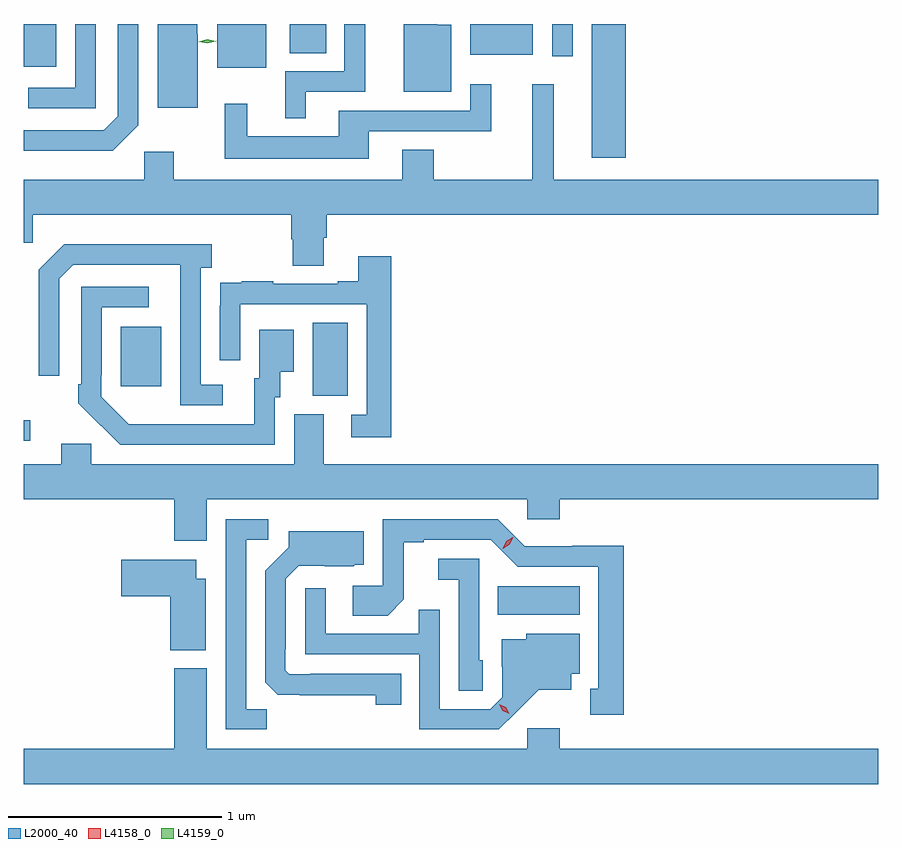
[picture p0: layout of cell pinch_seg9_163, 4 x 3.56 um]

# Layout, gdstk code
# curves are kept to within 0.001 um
import gdstk
lib = gdstk.Library(unit=1e-6, precision=1e-09)
def R(c, l, rs):  # rectangles x0, y0, x1, y1
    for r in rs: c.add(gdstk.rectangle(r[:2], r[2:], *l))
def P(c, l, *ps):  # polygons
    for p in ps: c.add(gdstk.Polygon(p, *l))
L2000_40 = (2000, 40)
L4158_0 = (4158, 0)
L4159_0 = (4159, 0)

pinch_seg9_163 = lib.new_cell('pinch_seg9_163')
R(pinch_seg9_163, L2000_40, [(648.19,1175.9,648.574,1176.034), (645.972,1176.714,646.003,1176.811), (647.324,1176.925,647.488,1177.268), (646.427,1176.969,646.615,1177.249), (648.632,1178.04,648.791,1178.666), (646.877,1178.462,647.107,1178.666), (645.972,1178.465,646.123,1178.666), (648.447,1178.514,648.543,1178.666), (648.062,1178.522,648.355,1178.666), (647.217,1178.53,647.387,1178.666)])
P(pinch_seg9_163, L2000_40, [(646.786,1178.618),(646.785,1178.618),(646.785,1178.666),(646.598,1178.666),(646.598,1178.273),(646.786,1178.273)],
  [(647.293,1178.349),(647.57,1178.349),(647.57,1178.666),(647.472,1178.666),(647.472,1178.445),(647.195,1178.445),(647.195,1178.225),(647.293,1178.225)],
  [(646.308,1178.666),(646.212,1178.666),(646.212,1178.367),(645.993,1178.367),(645.993,1178.271),(646.308,1178.271)],
  [(646.509,1178.193),(646.509,1178.666),(646.413,1178.666),(646.413,1178.235),(646.347,1178.169),(645.972,1178.169),(645.972,1178.072),(646.388,1178.072)],
  [(647.974,1178.662),(647.908,1178.662),(647.908,1178.666),(647.75,1178.666),(647.75,1178.348),(647.974,1178.348)],
  [(647.377,1177.666),(647.39,1177.666),(647.39,1177.772),(649.972,1177.772),(649.972,1177.936),(648.452,1177.936),(648.452,1178.383),(648.353,1178.383),(648.353,1177.936),(647.892,1177.936),(647.892,1178.078),(647.744,1178.078),(647.744,1177.936),(646.675,1177.936),(646.675,1178.068),(646.536,1178.068),(646.536,1177.936),(645.972,1177.936),(645.972,1177.641),(646.014,1177.641),(646.014,1177.772),(647.225,1177.772),(647.225,1177.659),(647.23,1177.659),(647.23,1177.534),(647.377,1177.534)],
  [(647.587,1178.163),(648.161,1178.163),(648.161,1178.383),(648.063,1178.383),(648.063,1178.259),(647.447,1178.259),(647.447,1178.14),(647.017,1178.14),(647.017,1178.293),(646.913,1178.293),(646.913,1178.036),(647.587,1178.036)],
  [(646.903,1176.978),(646.8,1176.978),(646.8,1177.526),(646.852,1177.526),(646.852,1177.636),(646.162,1177.636),(646.041,1177.515),(646.041,1177.02),(646.137,1177.02),(646.137,1177.473),(646.203,1177.539),(646.704,1177.539),(646.704,1176.882),(646.903,1176.882)],
  [(647.693,1177.579),(647.537,1177.579),(647.537,1177.462),(647.441,1177.462),(647.441,1177.449),(647.141,1177.449),(647.141,1177.462),(646.993,1177.462),(646.993,1177.455),(646.891,1177.455),(646.891,1177.346),(646.89,1177.346),(646.89,1177.092),(646.986,1177.092),(646.986,1177.353),(647.577,1177.353),(647.577,1176.837),(647.505,1176.837),(647.505,1176.732),(647.693,1176.732)],
  [(647.148,1176.918),(647.173,1176.918),(647.173,1177.037),(647.236,1177.037),(647.236,1177.234),(647.075,1177.234),(647.075,1177.008),(647.051,1177.008),(647.051,1176.792),(646.464,1176.793),(646.335,1176.921),(646.335,1177.021),(646.338,1177.021),(646.338,1177.341),(646.558,1177.341),(646.558,1177.437),(646.242,1177.437),(646.242,1176.979),(646.227,1176.979),(646.227,1176.891),(646.424,1176.696),(647.148,1176.696)],
  [(646.828,1176.44),(648.33,1176.44),(648.33,1176.347),(648.482,1176.347),(648.482,1176.44),(649.972,1176.44),(649.972,1176.604),(647.377,1176.604),(647.377,1176.84),(647.237,1176.84),(647.237,1176.604),(646.287,1176.604),(646.287,1176.702),(646.148,1176.702),(646.148,1176.604),(645.972,1176.604),(645.972,1176.44),(646.676,1176.44),(646.676,1176.246),(646.828,1176.246)],
  [(648.781,1176.224),(648.54,1176.224),(648.54,1176.222),(648.318,1176.222),(648.192,1176.348),(647.652,1176.348),(647.652,1176.036),(647.511,1176.036),(647.511,1175.896),(647.675,1175.896),(647.751,1175.972),(647.751,1176.24),(647.845,1176.24),(647.845,1176.252),(648.159,1176.252),(648.285,1176.126),(648.662,1176.126),(648.662,1175.553),(648.623,1175.553),(648.623,1175.433),(648.781,1175.433)],
  [(647.109,1175.459),(647.013,1175.459),(647.013,1176.252),(647.116,1176.252),(647.116,1176.348),(646.917,1176.348),(646.917,1175.364),(647.109,1175.364)],
  [(647.738,1175.625),(647.314,1175.625),(647.314,1175.622),(647.214,1175.622),(647.196,1175.64),(647.196,1175.74),(647.199,1175.74),(647.199,1176.069),(647.259,1176.129),(647.516,1176.128),(647.522,1176.134),(647.563,1176.134),(647.563,1176.292),(647.213,1176.292),(647.213,1176.216),(647.103,1176.106),(647.103,1175.584),(647.162,1175.525),(647.62,1175.524),(647.62,1175.478),(647.738,1175.478)],
  [(648.12,1175.688),(648.105,1175.688),(648.105,1176.162),(647.913,1176.162),(647.913,1176.065),(648.009,1176.065),(648.009,1175.545),(648.12,1175.545)],
  [(646.825,1176.07),(646.78,1176.07),(646.78,1176.157),(646.428,1176.157),(646.428,1175.987),(646.658,1175.987),(646.658,1175.735),(646.825,1175.735)],
  [(648.28,1175.447),(648.383,1175.549),(648.535,1175.549),(648.535,1175.625),(648.574,1175.625),(648.574,1175.812),(648.324,1175.812),(648.324,1175.785),(648.209,1175.785),(648.209,1175.656),(648.213,1175.656),(648.213,1175.514),(648.156,1175.457),(647.919,1175.457),(647.919,1175.924),(647.821,1175.924),(647.821,1175.811),(647.385,1175.811),(647.385,1176.025),(647.289,1176.025),(647.289,1175.715),(647.823,1175.715),(647.823,1175.364),(648.196,1175.364)],
  [(649.972,1175.272),(648.482,1175.272),(648.482,1175.368),(648.33,1175.368),(648.33,1175.272),(646.828,1175.272),(646.828,1175.65),(646.676,1175.65),(646.676,1175.272),(645.972,1175.272),(645.972,1175.108),(649.972,1175.108)])
P(pinch_seg9_163, L4158_0, [(648.214,1176.21),(648.214,1176.211),(648.231,1176.244),(648.262,1176.263),(648.263,1176.263),(648.263,1176.263),(648.246,1176.23),(648.214,1176.21)],
  [(648.245,1175.437),(648.215,1175.452),(648.198,1175.482),(648.198,1175.482),(648.198,1175.482),(648.228,1175.467),(648.245,1175.437),(648.245,1175.437)])
P(pinch_seg9_163, L4159_0, [(646.832,1178.575),(646.79,1178.584),(646.79,1178.584),(646.79,1178.584),(646.831,1178.595),(646.872,1178.586),(646.873,1178.585),(646.872,1178.585)])

lib.write_gds('pinch_seg9_163.gds')
